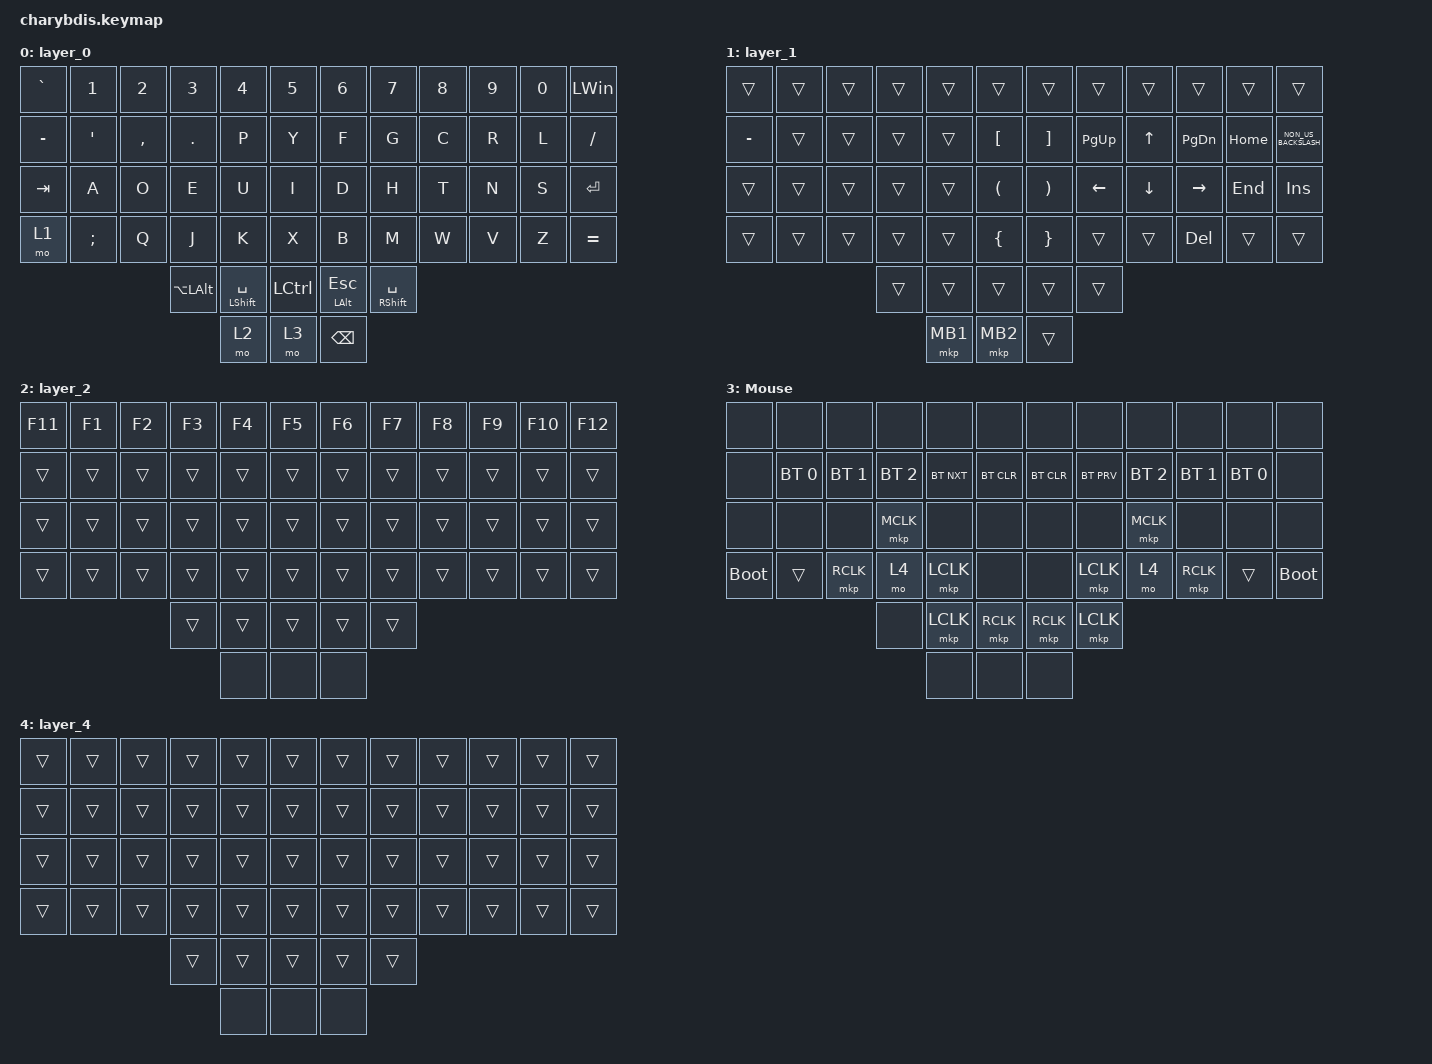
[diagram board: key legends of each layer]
#include <dt-bindings/zmk/mouse.h>
#include <behaviors.dtsi>
#include <dt-bindings/zmk/bt.h>
#include <dt-bindings/zmk/keys.h>
#include <dt-bindings/zmk/pointing.h>

&lt {
    tapping-term-ms = <200>;
    flavor = "balanced";
    quick-tap-ms = <150>;
};

/ {
    behaviors {
        hold_or_tap: hold_or_tap {
            compatible = "zmk,behavior-hold-tap";
            label = "HOLD_OR_TAP";
            bindings = <&kp>, <&kp>;

            #binding-cells = <2>;
            tapping-term-ms = <180>;
            flavor = "balanced";
            quick-tap-ms = <100>;
        };
    };

    combos { compatible = "zmk,combos"; };

    keymap {
        compatible = "zmk,keymap";

        layer_0 {
            bindings = <
&kp GRAVE  &kp N1         &kp N2     &kp N3            &kp N4                         &kp N5       &kp N6                    &kp N7                          &kp N8  &kp N9  &kp N0  &kp LEFT_WIN
&kp MINUS  &kp SQT        &kp COMMA  &kp PERIOD        &kp P                          &kp Y        &kp F                     &kp G                           &kp C   &kp R   &kp L   &kp SLASH
&kp TAB    &kp A          &kp O      &kp E             &kp U                          &kp I        &kp D                     &kp H                           &kp T   &kp N   &kp S   &kp ENTER
&mo 1      &kp SEMICOLON  &kp Q      &kp J             &kp K                          &kp X        &kp B                     &kp M                           &kp W   &kp V   &kp Z   &kp EQUAL
                                     &kp LA(LEFT_ALT)  &hold_or_tap LEFT_SHIFT SPACE  &kp LCTRL    &hold_or_tap LALT ESCAPE  &hold_or_tap RIGHT_SHIFT SPACE
                                                       &mo 2                          &mo 3        &kp BACKSPACE
            >;

        };

        layer_1 {
            bindings = <
&trans     &trans  &trans  &trans  &trans    &trans                  &trans                 &trans     &trans    &trans         &trans    &trans
&kp MINUS  &trans  &trans  &trans  &trans    &kp LEFT_BRACKET        &kp RIGHT_BRACKET      &kp PG_UP  &kp UP    &kp PAGE_DOWN  &kp HOME  &kp NON_US_BACKSLASH
&trans     &trans  &trans  &trans  &trans    &kp LEFT_PARENTHESIS    &kp RIGHT_PARENTHESIS  &kp LEFT   &kp DOWN  &kp RIGHT      &kp END   &kp INSERT
&trans     &trans  &trans  &trans  &trans    &kp LEFT_BRACE          &kp RIGHT_BRACE        &trans     &trans    &kp DELETE     &trans    &trans
                           &trans  &trans    &trans                  &trans                 &trans
                                   &mkp MB1  &mkp MB2                &trans
            >;

            trackball-bindings = <&tmv_coarse>;
        };

        layer_2 {
            bindings = <
&kp F11  &kp F1  &kp F2  &kp F3  &kp F4  &kp F5    &kp F6  &kp F7  &kp F8  &kp F9  &kp F10  &kp F12
&trans   &trans  &trans  &trans  &trans  &trans    &trans  &trans  &trans  &trans  &trans   &trans
&trans   &trans  &trans  &trans  &trans  &trans    &trans  &trans  &trans  &trans  &trans   &trans
&trans   &trans  &trans  &trans  &trans  &trans    &trans  &trans  &trans  &trans  &trans   &trans
                         &trans  &trans  &trans    &trans  &trans
                                 &none   &none     &none
            >;

            trackball-bindings = <&tsl>;
        };

        Mouse {
            bindings = <
&none        &none         &none         &none         &none       &none         &none       &none       &none         &none         &none         &none
&none        &bt BT_SEL 0  &bt BT_SEL 1  &bt BT_SEL 2  &bt BT_NXT  &bt BT_CLR    &bt BT_CLR  &bt BT_PRV  &bt BT_SEL 2  &bt BT_SEL 1  &bt BT_SEL 0  &none
&none        &none         &none         &mkp MCLK     &none       &none         &none       &none       &mkp MCLK     &none         &none         &none
&bootloader  &trans        &mkp RCLK     &mo 4         &mkp LCLK   &none         &none       &mkp LCLK   &mo 4         &mkp RCLK     &trans        &bootloader
                                         &none         &mkp LCLK   &mkp RCLK     &mkp RCLK   &mkp LCLK
                                                       &none       &none         &none
            >;
        };

        layer_4 {
            bindings = <
&trans  &trans  &trans  &trans  &trans  &trans    &trans  &trans  &trans  &trans  &trans  &trans
&trans  &trans  &trans  &trans  &trans  &trans    &trans  &trans  &trans  &trans  &trans  &trans
&trans  &trans  &trans  &trans  &trans  &trans    &trans  &trans  &trans  &trans  &trans  &trans
&trans  &trans  &trans  &trans  &trans  &trans    &trans  &trans  &trans  &trans  &trans  &trans
                        &trans  &trans  &trans    &trans  &trans
                                &none   &none     &none
            >;
        };
    };
};
